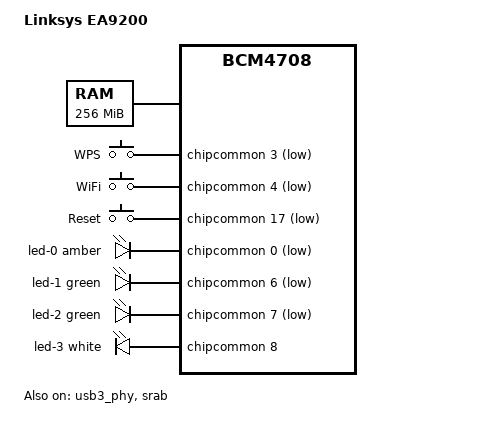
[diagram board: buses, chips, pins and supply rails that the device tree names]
// SPDX-License-Identifier: GPL-2.0-or-later OR MIT
/*
 * Copyright (C) 2017 Rafał Miłecki <rafal@milecki.pl>
 */

/dts-v1/;

#include <dt-bindings/leds/common.h>

#include "bcm4709.dtsi"
#include "bcm5301x-nand-cs0-bch8.dtsi"

/ {
	compatible = "linksys,ea9200", "brcm,bcm4709", "brcm,bcm4708";
	model = "Linksys EA9200";

	chosen {
		bootargs = "console=ttyS0,115200";
	};

	memory@0 {
		device_type = "memory";
		reg = <0x00000000 0x08000000>,
		      <0x88000000 0x08000000>;
	};

	nvram@1c080000 {
		compatible = "brcm,nvram";
		reg = <0x1c080000 0x180000>;

		et2macaddr: et2macaddr {
			#nvmem-cell-cells = <1>;
		};
	};

	gpio-keys {
		compatible = "gpio-keys";

		button-wps {
			label = "WPS";
			linux,code = <KEY_WPS_BUTTON>;
			gpios = <&chipcommon 3 GPIO_ACTIVE_LOW>;
		};

		button-rfkill {
			label = "WiFi";
			linux,code = <KEY_RFKILL>;
			gpios = <&chipcommon 4 GPIO_ACTIVE_LOW>;
		};

		button-restart {
			label = "Reset";
			linux,code = <KEY_RESTART>;
			gpios = <&chipcommon 17 GPIO_ACTIVE_LOW>;
		};
	};

	leds {
		compatible = "gpio-leds";

		led-0 {
			color = <LED_COLOR_ID_AMBER>;
			function = LED_FUNCTION_WLAN;
			gpios = <&chipcommon 0 GPIO_ACTIVE_LOW>;
			linux,default-trigger = "rfkill-none";
		};

		led-1 {
			color = <LED_COLOR_ID_GREEN>;
			function = LED_FUNCTION_USB;
			function-enumerator = <2>;
			gpios = <&chipcommon 6 GPIO_ACTIVE_LOW>;
			linux,default-trigger = "usbport";
			trigger-sources = <&ohci_port2>, <&ehci_port2>;
		};

		led-2 {
			color = <LED_COLOR_ID_GREEN>;
			function = LED_FUNCTION_USB;
			function-enumerator = <3>;
			gpios = <&chipcommon 7 GPIO_ACTIVE_LOW>;
			linux,default-trigger = "usbport";
			trigger-sources = <&ohci_port1>, <&ehci_port1>,
					  <&xhci_port1>;
		};

		led-3 {
			color = <LED_COLOR_ID_WHITE>;
			function = LED_FUNCTION_POWER;
			gpios = <&chipcommon 8 GPIO_ACTIVE_HIGH>;
			linux,default-trigger = "default-on";
		};
	};
};

&usb3_phy {
	status = "okay";
};

&usb2 {
	vcc-gpios = <&chipcommon 13 GPIO_ACTIVE_HIGH>;
};

&usb3 {
	vcc-gpios = <&chipcommon 14 GPIO_ACTIVE_HIGH>;
};

&srab {
	status = "okay";

	ports {
		port@0 {
			label = "lan1";
		};

		port@1 {
			label = "lan2";
		};

		port@2 {
			label = "lan3";
		};

		port@3 {
			label = "lan4";
		};

		port@4 {
			label = "wan";

			nvmem-cells = <&et2macaddr 1>;
			nvmem-cell-names = "mac-address";
		};

		port@5 {
			status = "disabled";
		};

		port@7 {
			status = "disabled";
		};

		port@8 {
			label = "cpu";
		};
	};
};

&nandcs {
	partitions {
		compatible = "linksys,ns-partitions";
		#address-cells = <1>;
		#size-cells = <1>;

		partition@0 {
			label = "boot";
			reg = <0x0000000 0x0080000>;
			read-only;
		};

		partition@80000 {
			label = "nvram";
			reg = <0x080000 0x0100000>;
		};

		partition@180000 {
			label = "devinfo";
			reg = <0x0180000 0x080000>;
			read-only;
		};

		partition@200000 {
			reg = <0x0200000 0x02800000>;
			compatible = "linksys,ns-firmware", "brcm,trx";
		};

		partition@2a00000 {
			reg = <0x02a00000 0x02800000>;
			compatible = "linksys,ns-firmware", "brcm,trx";
		};

		partition@5200000 {
			label = "system";
			reg = <0x05200000 0x02e00000>;
		};
	};
};
